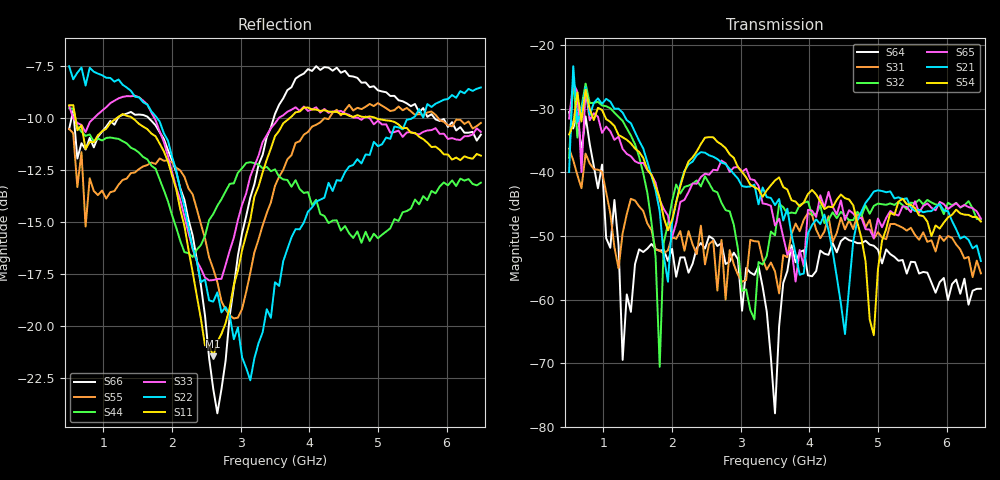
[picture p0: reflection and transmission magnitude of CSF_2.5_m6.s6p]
!Keysight Technologies,M9804A,MY58100912,A.14.10.03
!Date: Thursday, April 27, 2023 10:28:33
!Correction: S11(C  6-Port  )
!S12(C  6-Port  )
!S13(C  6-Port  )
!S14(C  6-Port  )
!S15(C  6-Port  )
!S16(C  6-Port  )
!S21(C  6-Port  )
!S22(C  6-Port  )
!S23(C  6-Port  )
!S24(C  6-Port  )
!S25(C  6-Port  )
!S26(C  6-Port  )
!S31(C  6-Port  )
!S32(C  6-Port  )
!S33(C  6-Port  )
!S34(C  6-Port  )
!S35(C  6-Port  )
!S36(C  6-Port  )
!S41(C  6-Port  )
!S42(C  6-Port  )
!S43(C  6-Port  )
!S44(C  6-Port  )
!S45(C  6-Port  )
!S46(C  6-Port  )
!S51(C  6-Port  )
!S52(C  6-Port  )
!S53(C  6-Port  )
!S54(C  6-Port  )
!S55(C  6-Port  )
!S56(C  6-Port  )
!S61(C  6-Port  )
!S62(C  6-Port  )
!S63(C  6-Port  )
!S64(C  6-Port  )
!S65(C  6-Port  )
!S66(C  6-Port  )
!S6P File: Measurement: :
# Hz S  RI  R 50
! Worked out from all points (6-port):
!   101 points, 500 MHz to 6.5 GHz, reference 50 ohm
!   strongest paths, dB at 500 MHz, 2 GHz, 3.5 GHz, 5 GHz, 6.5 GHz:
!     S54: -34.1, -47.5, -41.3, -55.2, -47.7
!     S21: -40.0, -47.9, -45.2, -42.8, -53.9
!     S65: -31.6, -50.2, -48.4, -47.3, -47.3
!     S32: -37.8, -44.6, -49.9, -44.9, -47.4
!     S31: -36.3, -50.2, -55.6, -49.4, -55.9
!     S64: -30.5, -52.0, -77.9, -52.2, -58.3
!   lowest |S11| = -21.5 dB at 2.6 GHz (marker M1), VSWR 1.18, Z = 42.5 + j2.16 ohm
!   |S11| at or under -10 dB: 591.3 MHz to 1.191 GHz (599.6 MHz wide, 67.3 % of centre); 1.427 GHz to 3.711 GHz (2.284 GHz wide, 88.9 % of centre); 4.974 GHz to end of sweep
